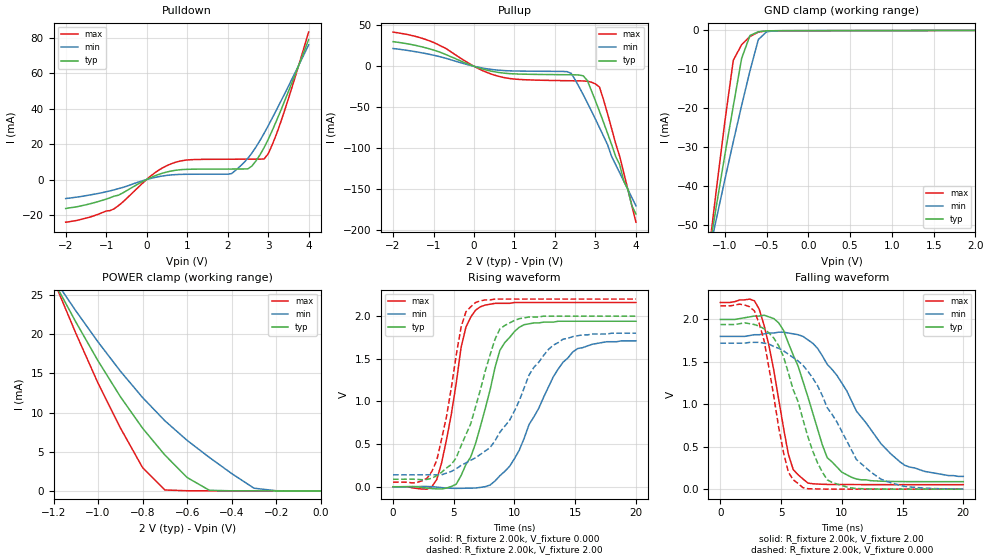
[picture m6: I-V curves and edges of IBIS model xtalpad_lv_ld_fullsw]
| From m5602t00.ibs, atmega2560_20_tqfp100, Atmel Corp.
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|   Model xtalpad_lv_ld_fullsw
[Model]   xtalpad_lv_ld_fullsw
Model_type   I/O
Polarity   Non-Inverting
Enable   Active-High
Vinl =   0.60V
Vinh =   1.40V
Vmeas =   1.00V
Cref =  50.00pF
C_comp   9.16pF   9.06pF   10.70pF
[Temperature Range]   27.00   0.12k   -55.00
[Voltage Range]   2.00V   1.80V   2.20V
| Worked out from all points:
|   slope of the pulldown table from 0 to 0.3 V, typ, clamps not added: 104 ohm
|   slope of the pullup table from 0 to 0.3 V, typ, clamps not added: 67.1 ohm
|   GND clamp passes 1 mA (typ) near -0.67 V on its own axis
|   POWER clamp passes 1 mA (typ) near -0.56 V on its own axis
|   rising waveform, R_fixture 2.00k, V_fixture 0.000: 20-80 % time 2.21ns typ, 3.5ns min, 1.54ns max; typ from 0 V to 1.94 V
|   rising waveform, R_fixture 2.00k, V_fixture 2.00: 20-80 % time 2.58ns typ, 3.98ns min, 1.6ns max; typ from 0.088 V to 2 V
|   falling waveform, R_fixture 2.00k, V_fixture 2.00: 20-80 % time 2.64ns typ, 4.8ns min, 1.64ns max; typ from 2 V to 0.088 V
|   falling waveform, R_fixture 2.00k, V_fixture 0.000: 20-80 % time 2.56ns typ, 3.97ns min, 1.57ns max; typ from 1.94 V to 0 V
[Pulldown]
| voltage   I(typ)   I(min)   I(max)
-2V       -16.3mA    -10.7mA    -24mA
-800mV    -9.31mA    -5.76mA    -16.41mA
100mV     1.14mA     660uA      2.02mA
600mV     4.8mA      2.62mA     8.85mA
1V        5.78mA     2.99mA     11.05mA
2.1V      5.95mA     3.39mA     11.47mA
2.5V      6.03mA     12mA       11.51mA
2.7V      10.53mA    18.33mA    11.52mA
2.9V      17.98mA    26.03mA    11.62mA
3V        22.53mA    30.22mA    14.44mA
3.3V      38.22mA    43.44mA    31.58mA
4V        78.79mA    75.85mA    83.1mA
[Pullup]
| voltage   I(typ)   I(min)   I(max)
-2V       30mA       21.66mA    41.67mA
-1V       19.78mA    13.51mA    29.06mA
600mV     -7.45mA    -4.73mA    -12.1mA
2.3V      -10.3mA    -6.55mA    -17.58mA
2.4V      -10.34mA   -8.57mA    -17.65mA
2.7V      -11.65mA   -34.83mA   -17.87mA
3V        -42.14mA   -64.51mA   -21.51mA
3.1V      -55.04mA   -74.79mA   -25.41mA
3.2V      -68.31mA   -85.2mA    -40.88mA
3.6V      -120mA     -130mA     -110mA
3.9V      -170mA     -160mA     -170mA
4V        -180mA     -170mA     -190mA
[GND_clamp]
| voltage   I(typ)   I(min)   I(max)
-2V       -170mA     -140mA     -210mA
-1.2V     -57.94mA   -58.2mA    -58.3mA
-1.1V     -44.7mA    -48.1mA    -40.38mA
-1V       -31.82mA   -38.21mA   -23.24mA
-900mV    -19.43mA   -28.58mA   -7.67mA
-800mV    -7.17mA    -19.26mA   -3.65mA
-700mV    -1.3mA     -10.35mA   -1.57mA
-600mV    -340uA     -2.35mA    -430uA
-500mV    -110uA     -330uA     -120uA
-300mV    -70.05uA   -62.88uA   -79.22uA
2V        100pA      24.69uA    -6.36uA
[POWER_clamp]
| voltage   I(typ)   I(min)   I(max)
-2V       72.8mA     63.37mA    87.23mA
-1.2V     26.82mA    27.16mA    26.9mA
-1.1V     21.56mA    22.98mA    20.12mA
-1V       16.59mA    19mA       13.74mA
-900mV    12.03mA    15.29mA    8.05mA
-800mV    8mA        11.91mA    2.97mA
-700mV    4.58mA     8.95mA     120uA
-600mV    1.71mA     6.45mA     21.55uA
-500mV    79.74uA    4.27mA     15.95uA
-300mV    9.25uA     350uA      9.55uA
-200mV    6.14uA     24.69uA    6.36uA
0V        100pA      4.1nA      65.61pA
[Ramp]
| variable   typ   min   max
dV/dt_r   1.17/2.36n   1.03/3.50n   1.30/1.60n
dV/dt_f   1.15/2.66n   0.99/4.56n   1.29/1.67n
R_load = 2.00k
[Rising Waveform]
R_fixture = 2.00k
V_fixture = 0.000
V_fixture_min = 0.000
V_fixture_max = 0.000
| time   V(typ)   V(min)   V(max)
0s        0V         8.08uV     0V
3.6ns     -24.69mV   -4.3mV     84.46mV
4.8ns     3.57mV     -17.77mV   850mV
5.6ns     130mV      -18.4mV    1.63V
6.8ns     510mV      -14.61mV   2.07V
8.8ns     1.6V       130mV      2.15V
10.4ns    1.87V      430mV      2.16V
13.2ns    1.93V      1.29V      2.16V
14.8ns    1.94V      1.58V      2.16V
20ns      1.94V      1.71V      2.16V
[Rising Waveform]
R_fixture = 2.00k
V_fixture = 2.00
V_fixture_min = 1.80
V_fixture_max = 2.20
| time   V(typ)   V(min)   V(max)
0s        88.05mV    140mV      53.51mV
3.2ns     100mV      140mV      180mV
4.4ns     220mV      160mV      820mV
5.6ns     480mV      250mV      1.87V
6.8ns     940mV      340mV      2.16V
8.4ns     1.73V      540mV      2.2V
9.2ns     1.89V      710mV      2.2V
11.2ns    1.99V      1.31V      2.2V
13.2ns    2V         1.66V      2.2V
20ns      2V         1.8V       2.2V
[Falling Waveform]
R_fixture = 2.00k
V_fixture = 2.00
V_fixture_min = 1.80
V_fixture_max = 2.20
| time   V(typ)   V(min)   V(max)
0s        2V         1.8V       2.2V
2.4ns     2.03V      1.81V      2.24V
3.2ns     2.04V      1.82V      2.12V
4ns       2.03V      1.84V      1.69V
5.6ns     1.72V      1.84V      410mV
7.2ns     1.09V      1.76V      73.01mV
8.8ns     370mV      1.47V      56.04mV
10ns      200mV      1.25V      54.54mV
14.8ns    89.78mV    320mV      53.58mV
20ns      88.19mV    150mV      53.57mV
[Falling Waveform]
R_fixture = 2.00k
V_fixture = 0.000
V_fixture_min = 0.000
V_fixture_max = 0.000
| time   V(typ)   V(min)   V(max)
0s        1.94V      1.72V      2.16V
2.8ns     1.94V      1.73V      2.1V
3.6ns     1.89V      1.72V      1.75V
4.8ns     1.69V      1.66V      730mV
5.6ns     1.37V      1.59V      200mV
6.8ns     820mV      1.46V      17.59mV
8.8ns     110mV      960mV      920uV
11.2ns    8.11mV     350mV      160uV
12.4ns    2.81mV     200mV      110uV
20ns      110uV      1.66mV     62.2uV
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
